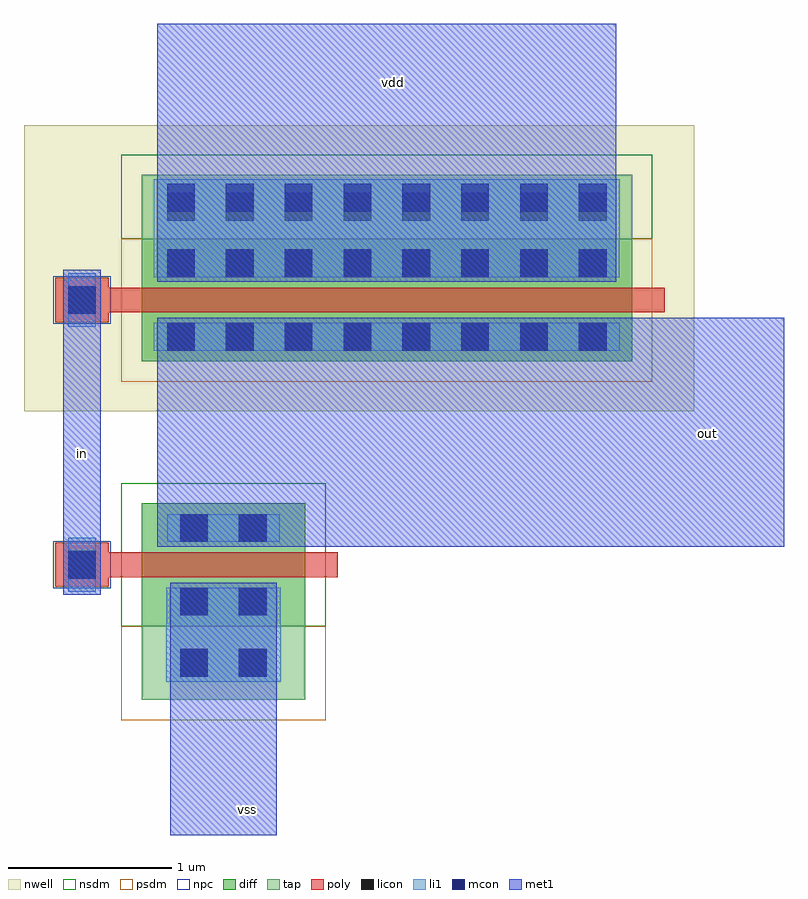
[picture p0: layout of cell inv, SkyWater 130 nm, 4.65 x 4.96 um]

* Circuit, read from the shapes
.subckt inv in out vdd vss
XM1 out in vss vss sky130_fd_pr__nfet_01v8 w=1 l=0.15
XM2 vdd in out vdd sky130_fd_pr__pfet_01v8 w=3 l=0.15
.ends

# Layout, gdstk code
from math import pi, radians
import gdstk
lib = gdstk.Library(unit=1e-6, precision=5e-09)
def R(c, l, rs):  # rectangles x0, y0, x1, y1
    for r in rs: c.add(gdstk.rectangle(r[:2], r[2:], *l))
def A(c, l, x, y, w, h, nx, ny, dx, dy):  # array of equal rectangles
    R(c, l, [(x+i*dx, y+j*dy, x+i*dx+w, y+j*dy+h) for i in range(nx) for j in range(ny)])
nwell = (64, 20)
diff = (65, 20)
tap = (65, 44)
poly = (66, 20)
licon = (66, 44)
li1 = (67, 20)
mcon = (67, 44)
met1 = (68, 20)
nsdm = (93, 44)
psdm = (94, 20)
npc = (95, 20)

nfet = lib.new_cell('nfet')
R(nfet, diff, [(0,0,0.75,1)])
R(nfet, tap, [(0.75,0,1.2,1)])
R(nfet, poly, [(0.24,-0.53,0.51,-0.2), (0.3,-0.2,0.45,1.2)])
R(nfet, licon, [(0.29,-0.45,0.46,-0.28), (0.065,0.235,0.235,0.405), (0.515,0.235,0.685,0.405), (0.89,0.235,1.06,0.405), (0.065,0.595,0.235,0.765), (0.515,0.595,0.685,0.765), (0.89,0.595,1.06,0.765)])
R(nfet, li1, [(0.21,-0.45,0.54,-0.28), (0.065,0.155,0.235,0.845), (0.515,0.155,0.685,0.845), (0.89,0.155,1.06,0.845)])
R(nfet, mcon, [(0.29,-0.45,0.46,-0.28), (0.065,0.235,0.235,0.405), (0.515,0.235,0.685,0.405), (0.065,0.595,0.235,0.765), (0.515,0.595,0.685,0.765)])
R(nfet, met1, [(0.19,-0.48,0.56,-0.25), (0.035,0.175,0.265,0.825), (0.485,0.175,0.715,0.825)])
R(nfet, nsdm, [(-0.125,-0.125,0.75,1.125)])
R(nfet, psdm, [(0.75,-0.125,1.325,1.125)])
R(nfet, npc, [(0.23,-0.54,0.52,-0.19)])

vias_gen_3 = lib.new_cell('vias_gen$3')
R(vias_gen_3, li1, [(0,0,2.81,0.23)])
A(vias_gen_3, mcon, 0.06, 0.03, 0.17, 0.17, 8, 1, 0.36, 0)
R(vias_gen_3, met1, [(0,0,2.81,0.23)])

vias_gen_2 = lib.new_cell('vias_gen$2')
R(vias_gen_2, li1, [(0,0,0.65,0.23)])
R(vias_gen_2, mcon, [(0.06,0.03,0.23,0.2), (0.42,0.03,0.59,0.2)])
R(vias_gen_2, met1, [(0,0,0.65,0.23)])

pfet_1 = lib.new_cell('pfet$1')
R(pfet_1, nwell, [(-0.305,-0.38,1.445,3.72)])
R(pfet_1, diff, [(0,0,0.75,3)])
R(pfet_1, tap, [(0.75,0,1.14,3)])
R(pfet_1, poly, [(0.3,-0.2,0.45,3.2), (0.24,3.2,0.51,3.53)])
A(pfet_1, licon, 0.065, 0.155, 0.17, 0.17, 1, 8, 0, 0.36)
A(pfet_1, licon, 0.515, 0.155, 0.17, 0.17, 1, 8, 0, 0.36)
A(pfet_1, licon, 0.86, 0.155, 0.17, 0.17, 1, 8, 0, 0.36)
R(pfet_1, licon, [(0.29,3.28,0.46,3.45)])
R(pfet_1, li1, [(0.065,0.075,0.235,2.925), (0.515,0.075,0.685,2.925), (0.86,0.075,1.03,2.925), (0.21,3.28,0.54,3.45)])
A(pfet_1, mcon, 0.065, 0.155, 0.17, 0.17, 1, 8, 0, 0.36)
A(pfet_1, mcon, 0.515, 0.155, 0.17, 0.17, 1, 8, 0, 0.36)
R(pfet_1, mcon, [(0.29,3.28,0.46,3.45)])
R(pfet_1, met1, [(0.035,0.095,0.265,2.905), (0.485,0.095,0.715,2.905), (0.19,3.25,0.56,3.48)])
R(pfet_1, nsdm, [(0.75,-0.125,1.265,3.125)])
R(pfet_1, psdm, [(-0.125,-0.125,0.75,3.125)])
R(pfet_1, npc, [(0.23,3.19,0.52,3.54)])

inv = lib.new_cell('inv')
R(inv, li1, [(3.525,0.665,4.225,1.24), (3.45,3.14,6.3,3.74)])
R(inv, met1, [(3.55,-0.275,4.2,1.27), (2.895,1.195,3.125,3.185), (3.47,1.49,7.305,2.89), (3.47,3.11,6.28,4.69)])
inv.add(gdstk.Reference(nfet, (3.375,1.755), rotation=3*pi/2))
inv.add(gdstk.Reference(vias_gen_3, (3.47,3.51)))
inv.add(gdstk.Reference(vias_gen_2, (3.55,0.665)))
inv.add(gdstk.Reference(pfet_1, (6.375,2.625), rotation=pi/2))
inv.add(gdstk.Label('vss', (4.025,-0.115), layer=68, texttype=5))
inv.add(gdstk.Label('vdd', (4.915,4.33), layer=68, texttype=5))
inv.add(gdstk.Label('in', (3.01,2.06), layer=68, texttype=5))
inv.add(gdstk.Label('out', (6.835,2.185), layer=68, texttype=5))

lib.write_gds('inv.gds')
